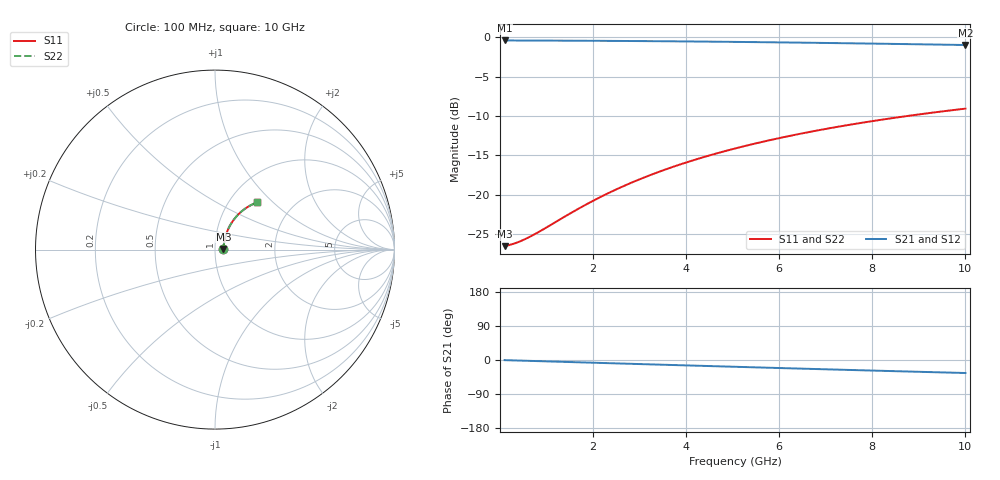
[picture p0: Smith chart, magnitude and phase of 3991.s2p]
# Hz S RI R 50.00
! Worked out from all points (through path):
!   100 points, 100 MHz to 10 GHz, reference 50 ohm
!   highest |S21| = -0.42 dB at 100 MHz (marker M1); lowest = -1.0 dB at 10 GHz (marker M2)
!   group delay of S21, straight-line fit = 9.56 ps
!   lowest |S11| = -26.6 dB at 100 MHz (marker M3), VSWR 1.10, Z = 54.9 + j0.395 ohm
!   |S11| at or under -10 dB: start of sweep to 8.778 GHz
!   |S22| runs from -26.6 to -9.1 dB; largest |S21 - S12| = 0
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1e8  0.0468 0.00359  0.9532 -0.00598  0.9532 -0.00598  0.0468 0.00359
3e8  0.0475 0.0108  0.9525 -0.0179  0.9525 -0.0179  0.0475 0.0108
4e8  0.0478 0.0143  0.9521 -0.0239  0.9521 -0.0239  0.0478 0.0143
6e8  0.0486 0.0215  0.9513 -0.0358  0.9513 -0.0358  0.0486 0.0215
9e8  0.0499 0.0321  0.9499 -0.0536  0.9499 -0.0536  0.0499 0.0321
1.5e9  0.0536 0.0532  0.9457 -0.089  0.9457 -0.089  0.0536 0.0532
1.8e9  0.056 0.0636  0.943 -0.1066  0.943 -0.1066  0.056 0.0636
2.2e9  0.0597 0.0773  0.9388 -0.1299  0.9388 -0.1299  0.0597 0.0773
2.6e9  0.0641 0.0908  0.9338 -0.1529  0.9338 -0.1529  0.0641 0.0908
3e9  0.0692 0.104  0.9281 -0.1757  0.9281 -0.1757  0.0692 0.104
3.4e9  0.0749 0.1169  0.9217 -0.1981  0.9217 -0.1981  0.0749 0.1169
3.8e9  0.0811 0.1294  0.9146 -0.2202  0.9146 -0.2202  0.0811 0.1294
4.2e9  0.088 0.1416  0.9068 -0.242  0.9068 -0.242  0.088 0.1416
4.6e9  0.0953 0.1533  0.8984 -0.2633  0.8984 -0.2633  0.0953 0.1533
5.1e9  0.1053 0.1674  0.887 -0.2894  0.887 -0.2894  0.1053 0.1674
5.5e9  0.1138 0.1782  0.8772 -0.3098  0.8772 -0.3098  0.1138 0.1782
5.9e9  0.1228 0.1884  0.8668 -0.3296  0.8668 -0.3296  0.1228 0.1884
6.7e9  0.142 0.2074  0.8446 -0.3679  0.8446 -0.3679  0.142 0.2074
7.5e9  0.1627 0.2243  0.8206 -0.4041  0.8206 -0.4041  0.1627 0.2243
8.4e9  0.1873 0.2406  0.7916 -0.4422  0.7916 -0.4422  0.1873 0.2406
9.2e9  0.2101 0.2527  0.7645 -0.4736  0.7645 -0.4736  0.2101 0.2527
1e10  0.2335 0.2625  0.7363 -0.5029  0.7363 -0.5029  0.2335 0.2625
